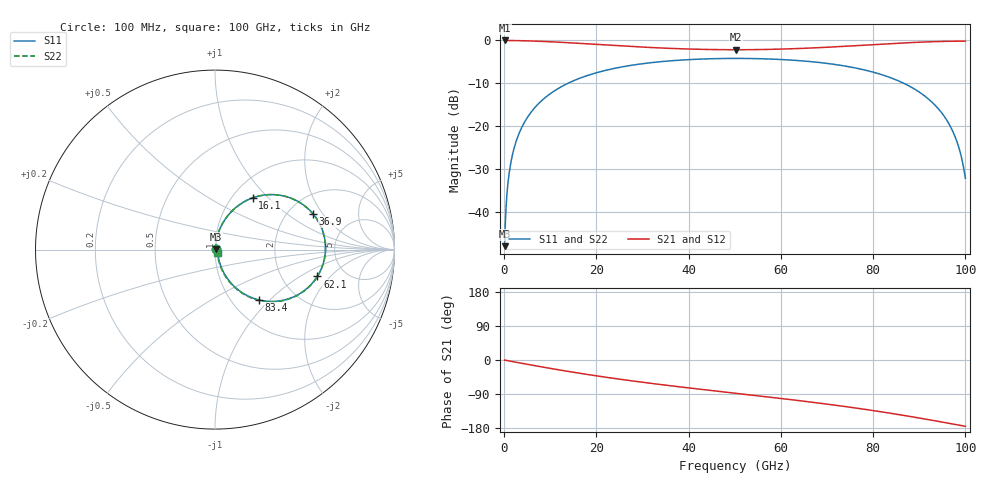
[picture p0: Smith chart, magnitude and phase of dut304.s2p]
! Touchstone file exported from HFSS 2026.1.0
!  File:  C:/ffzhzh/LocalFiles/Ansys_Project_Files/temp_train_RDL_304_1783502426_31944.aedt
!  Generated:  05:21:51 PM Jul  8, 2026
!  Design:  RDL
!  Project:  temp_train_RDL_304_1783502426_31944
! Variables:
!  h_bsmrdl = 2um
!  h_ox = 20um
!  h_rdl = 5um
!  h_sub = 80um
!  h_tmrdl = 3.77um
!  h_tsv = 80um
!  h_via = 3um
!  l_bsmrdl = 300um
!  l_sub = 978.99um
!  l_tmrdl = 578.99um
!  m_sub = 200um
!  pitch = 53.54um
!  r_tsv = 6um
!  s_tmrdl = 10um
!  w_bsmrdl = 18um
!  w_sub = 500um
!  w_tmrdl = 19.87um
!  x_tsv_center1 = 588.925um
!  x_tsv_center2 = 906.925um
!  x_tsv_center3 = 1505.785um
!  x_tsv_center4 = 1823.785um
!  x_tsv_center5 = 2422.645um
!  x_tsv_center6 = 2740.645um
# GHz S MA R 50.000000
! Terminal data exported
! Port[1] = TM_RDL1_1_T1
! Port[2] = TM_RDL1_1_T2
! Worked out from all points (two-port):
!   1000 points, 100 MHz to 100 GHz, reference 50 ohm
!   highest |S21| = -0.03 dB at 100 MHz (marker M1); lowest = -2.2 dB at 50.3 GHz (marker M2)
!   |S21| within 3 dB of the highest: start of sweep to end of sweep
!   lowest |S11| = -48.0 dB at 100 MHz (marker M3), VSWR 1.01, Z = 50.3 + j0.276 ohm
!   |S11| at or under -10 dB: start of sweep to 13.86 GHz; 86.63 GHz to end of sweep
!   |S22| runs from -48.0 to -4.2 dB; largest |S21 - S12| = 1.7e-14
!   S11 on the Smith chart (normalised r, x): 100 MHz: 1.01, +0.01; 16.1 GHz: 1.23, +0.82; 36.9 GHz: 2.70, +1.62; 62.1 GHz: 3.15, -1.44; 83.4 GHz: 1.33, -0.87; 100 GHz: 1.03, -0.04
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0.1  0.003992 43.4  0.9971 -0.2  0.9971 -0.2  0.003992 43.4
! Gamma 0 0 0 0
! Port Impedance 50 0 50 0
0.8  0.02108 78.6  0.9963 -1.9  0.9963 -1.9  0.02108 78.6
1.4  0.03621 80.9  0.9956 -3.2  0.9956 -3.2  0.03621 80.9
2.4  0.06143 80.6  0.994 -5.5  0.994 -5.5  0.06143 80.6
3.9  0.09873 78.2  0.9902 -8.9  0.9902 -8.9  0.09873 78.2
5.9  0.1469 74.3  0.983 -13.3  0.983 -13.3  0.1469 74.3
8.6  0.2086 68.7  0.9704 -19.2  0.9704 -19.2  0.2086 68.7
16.1  0.3567 53.9  0.9242 -34.5  0.9242 -34.5  0.3567 53.9
16.8  0.3686 52.6  0.9194 -35.8  0.9194 -35.8  0.3686 52.6
24.4  0.4772 39.2  0.8679 -49.6  0.8679 -49.6  0.4772 39.1
33.4  0.5606 25.1  0.8173 -64.0  0.8173 -64.0  0.5606 25.0
36.9  0.5818 19.9  0.8026 -69.2  0.8026 -69.2  0.5818 19.8
50.1  0.616 1.8  0.7774 -87.7  0.7774 -87.7  0.616 1.6
50.3  0.616 1.5  0.7774 -88.0  0.7774 -88.0  0.616 1.4
62.1  0.5895 -14.7  0.797 -104.5  0.797 -104.5  0.5895 -14.9
66.7  0.5635 -21.3  0.8148 -111.3  0.8148 -111.3  0.5636 -21.6
75.8  0.4806 -35.6  0.864 -126.0  0.864 -126.0  0.4807 -35.9
83.4  0.3733 -48.8  0.9128 -139.8  0.9128 -139.8  0.3733 -49.2
90  0.2495 -60.9  0.9513 -153.1  0.9513 -153.1  0.2495 -61.5
94.8  0.1443 -68.8  0.971 -163.4  0.971 -163.4  0.1442 -69.8
97.9  0.07218 -70.1  0.9779 -170.3  0.9779 -170.3  0.07189 -72.0
100  0.02467 -52.2  0.9797 -174.9  0.9797 -174.9  0.0236 -57.0
